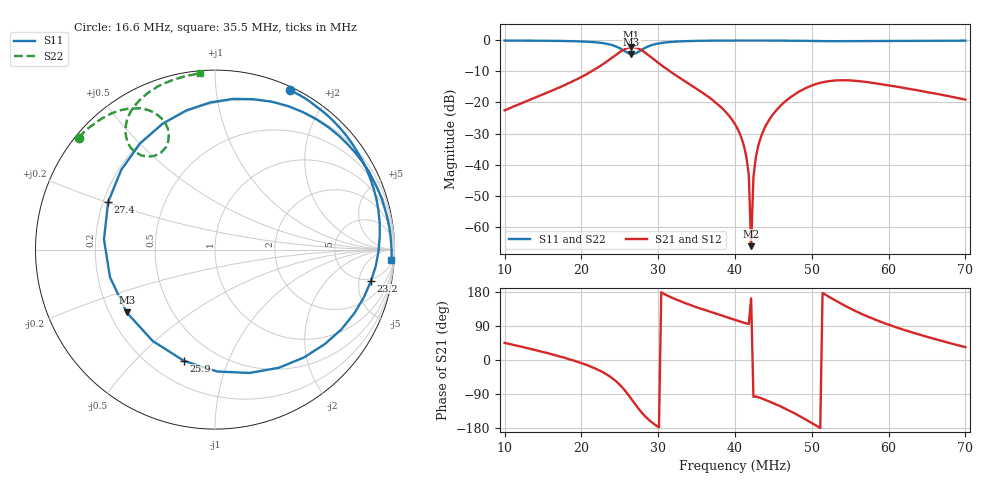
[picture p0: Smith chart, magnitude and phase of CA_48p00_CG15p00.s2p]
#  HZ  S  RI  R  50.00
! Rohde & Schwarz ZVT8 8Ports - Version 4.11 - 1300.0000k08 SN: 100242
! Date: 2026-07-31 15:05:32
! Measurements: S11 S21 S12 S22
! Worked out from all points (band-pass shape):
!   201 points, 10 MHz to 70 MHz, reference 50 ohm
!   highest |S21| = -2.16 dB at 26.5 MHz (marker M1); lowest = -66.3 dB at 42.1 MHz (marker M2)
!   |S21| within 3 dB of the highest: 24.21 MHz to 28.96 MHz (4.746 MHz wide, 17.9 % of centre)
!   lowest |S11| = -4.4 dB at 26.5 MHz (marker M3), VSWR 4.05, Z = 13.5 - j14.9 ohm
!   |S11| at or under -10 dB: nowhere
!   |S22| runs from -4.2 to 0.0 dB; largest |S21 - S12| = 0.0026
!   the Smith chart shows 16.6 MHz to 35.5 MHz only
!   S11 on the Smith chart (normalised r, x): 16.6 MHz: 0.03, +1.57; 23.2 MHz: 4.56, -7.39; 25.9 MHz: 0.33, -0.71; 27.4 MHz: 0.22, +0.20; 35.5 MHz: 9, -32
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1e7  -0.3989 0.9128  0.0526 0.0531  0.0523 0.0529  -0.9193 0.3827
1.66e7  0.4162 0.8892  0.1597 0.0354  0.1595 0.035  -0.76 0.6238
2.02e7  0.8166 0.5036  0.2619 -0.0442  0.261 -0.044  -0.6132 0.739
2.32e7  0.87 -0.1728  0.3583 -0.2696  0.3576 -0.2695  -0.4173 0.7875
2.59e7  -0.1725 -0.6202  0.0457 -0.7467  0.0471 -0.7468  -0.2602 0.6046
2.65e7  -0.492 -0.3502  -0.1719 -0.7602  -0.1729 -0.7606  -0.3006 0.5408
2.74e7  -0.5957 0.2637  -0.4504 -0.5891  -0.4506 -0.5866  -0.4096 0.524
2.86e7  -0.1591 0.7758  -0.538 -0.2555  -0.5392 -0.2543  -0.4949 0.6268
3.01e7  0.4103 0.7983  -0.4268 -0.0166  -0.4259 -0.0173  -0.469 0.7702
3.55e7  0.9827 -0.0565  -0.1087 0.1051  -0.1086 0.105  -0.0833 0.983
4e7  0.7755 -0.6253  -0.0122 0.043  -0.0119 0.0429  0.352 0.9318
4.15e7  0.6463 -0.7602  -0.00147 0.0128  -0.00149 0.0129  0.5149 0.8517
4.18e7  0.6168 -0.7846  -0.000621 0.00658  -0.000669 0.00645  0.5486 0.8316
4.21e7  0.5879 -0.8066  -0.000462 0.000146  -0.00046 0.000185  0.5835 0.8071
4.24e7  0.5576 -0.8266  -0.000775 -0.00621  -0.000587 -0.00622  0.6174 0.7814
4.36e7  0.4311 -0.899  -0.00705 -0.0322  -0.00711 -0.032  0.7495 0.654
4.75e7  -0.0128 -0.99  -0.0955 -0.0855  -0.0953 -0.0857  0.9819 -0.088
5.02e7  -0.3058 -0.931  -0.188 -0.0376  -0.1882 -0.0379  0.6391 -0.7362
5.26e7  -0.5317 -0.8126  -0.2132 0.0671  -0.2135 0.0676  -0.0291 -0.968
5.53e7  -0.742 -0.6278  -0.1538 0.1644  -0.1535 0.1649  -0.6732 -0.6955
6.01e7  -0.9621 -0.1744  -0.00853 0.1877  -0.00844 0.1875  -0.9732 0.0896
7e7  -0.5926 0.7934  0.0923 0.0621  0.0922 0.0619  -0.5075 0.8504
